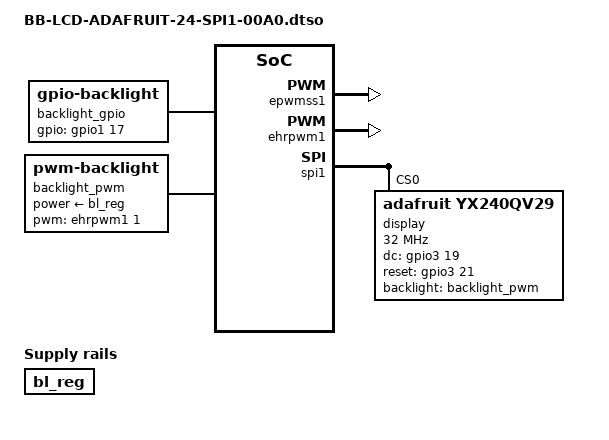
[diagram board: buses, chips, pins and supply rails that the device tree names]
// SPDX-License-Identifier: GPL-2.0-only
/*
 * Copyright (C) 2013 CircuitCo
 * Copyright (C) 2018 Drew Fustini <drew@beagleboard.org>
 * Copyright (C) 2019 Mark A. Yoder <mark.a.yoder@beagleboard.org>
 *
 * Adafruit 2.4" TFT LCD on SPI1 bus using tinydrm ili9341 driver
 *
 * DOCUMENTATION:
 * --------------
 * This file was copied from src/arm/BB-SPIDEV1-00A0.dts and modified
 * by Drew Fustini based on an exmample from David Lechner.
 * Later modified by Mark A. Yoder for the 2.4" LCD.
 *
 * This is the Adafruit 2.4" TFT LCD:
 * https://www.adafruit.com/product/2478
 *
 * It should be connected to BeagleBone SPI1 bus:
 *
 *   P9.16 <--> lite (pwm) [OPTIONAL]
 *   P9.23 <--> lite (gpio) [OPTIONAL]
 *   P9.25 <--> reset
 *   P9.27 <--> dc
 *   P9.28 <--> tft_cs
 *   P9.29 <--> miso
 *   P9.30 <--> mosi
 *   P9.31 <--> clk
 *
 * This overlay will load the mainline tinydrm ili9341 driver by David Lechner:
 * https://github.com/torvalds/linux/blob/master/drivers/gpu/drm/tiny/ili9341.c
 *
 * Tested with 4.19.59-ti-r26 kernel on Debian 10.1 image
 *
 * Run libdrm modetest for colorbar test based on instructions from:
 * https://github.com/notro/tinydrm/wiki/Development#modetest
 *
 * modetest -M "ili9341" -c #this will display connector id
 * modetest -M "ili9341" -s 28:128x160 #connector id and resolution
 * # you should now see a color bar on the LCD
 *
 * Mailing list post with more information:
 * https://groups.google.com/d/msg/beagleboard/GuMQIP_XCW0/b3lxbx_8AwAJ
 *
 * Discussion with notro on how to test tinydrm driver:
 * https://github.com/notro/tinydrm/issues/1#issuecomment-367279037
 */

/dts-v1/;
/plugin/;

#include <dt-bindings/gpio/gpio.h>
#include <dt-bindings/pinctrl/am33xx.h>

/*
 * Helper to show loaded overlays under: /proc/device-tree/chosen/overlays/
 */
&{/chosen} {
	overlays {
		BB-LCD-ADAFRUIT-24-SPI1-00A0 = __TIMESTAMP__;
	};
};

/*
 * Free up the pins used by the cape from the pinmux helpers.
 */
&ocp {
	P9_25_pinmux { status = "disabled"; };	/* lcd reset */
	P9_16_pinmux { status = "disabled"; };  /* lcd pwm backlight (OPTIONAL) */
	P9_27_pinmux { status = "disabled"; };	/* lcd dc */
	P9_28_pinmux { status = "disabled"; };	/* spi1_cs0 */
	P9_29_pinmux { status = "disabled"; };	/* spi1_d0 */
	P9_30_pinmux { status = "disabled"; };	/* spi1_d1 */
	P9_31_pinmux { status = "disabled"; };	/* spi1_sclk */
};

&am33xx_pinmux {
	/* default state has all gpios released and mode set to uart1 */
	/* See page 1446 of am35xx TRM */
	bb_spi1_pins: pinmux_bb_spi1_pins {
		pinctrl-single,pins = <
			AM33XX_PADCONF(AM335X_PIN_MCASP0_ACLKX, PIN_INPUT, MUX_MODE3)	/* mcasp0_aclkx.spi1_sclk */
			AM33XX_PADCONF(AM335X_PIN_MCASP0_FSX, PIN_INPUT, MUX_MODE3)	/* mcasp0_fsx.spi1_d0 */
			AM33XX_PADCONF(AM335X_PIN_MCASP0_AXR0, PIN_INPUT, MUX_MODE3)	/* mcasp0_axr0.spi1_d1 */
			AM33XX_PADCONF(AM335X_PIN_MCASP0_AHCLKR, PIN_INPUT, MUX_MODE3)	/* mcasp0_ahclkr.spi1_cs0 */
			AM33XX_PADCONF(AM335X_PIN_MCASP0_FSR, PIN_OUTPUT_PULLUP, MUX_MODE7)	/* gpio, dc */
			AM33XX_PADCONF(AM335X_PIN_MCASP0_AHCLKX, PIN_OUTPUT_PULLUP, MUX_MODE7)	/* gpio, reset */
		>;
	};

	backlight_pwm_pins: pinmux_backlight_pwm_pins {
		pinctrl-single,pins = <
			AM33XX_PADCONF(AM335X_PIN_GPMC_A3, PIN_OUTPUT, MUX_MODE6) /* gpmc_a2.ehrpwm1b */
		>;
	};  /* gpmc_a2.ehrpwm1b */
};

&epwmss1 {
	status = "okay";
};

&ehrpwm1 {
	pinctrl-names = "default";
	pinctrl-0 = <&backlight_pwm_pins>;
	status = "okay";
};

&spi1 {
	#address-cells = <1>;
	#size-cells = <0>;

	status = "okay";
	pinctrl-names = "default";
	pinctrl-0 = <&bb_spi1_pins>;

	channel@0{
		status = "disabled";
		reg = <0>;
	};

	display@0{
		status = "okay";
		compatible = "adafruit,yx240qv29", "ilitek,ili9341";
		reg = <0>;
		spi-max-frequency = <32000000>;
		dc-gpios    = <&gpio3 19 0>;   // lcd dc    P9.27 gpio3[19]
		reset-gpios = <&gpio3 21 0>;   // lcd reset P9.25 gpio3[21]
		// backlight is optional
		// choose either pwm or gpio control
		//backlight = <&backlight_gpio>; // lcd lite  P9.23 gpio1[17]
		backlight = <&backlight_pwm>;    // lcd lite  P9.16 gpmc_a2.ehrpwm1b
		// refer to https://elinux.org/Beagleboard:Cape_Expansion_Headers
		// rotation is optional
		rotation = <270>;
	};
};

&{/} {
	bl_reg: backlight-regulator {
		compatible = "regulator-fixed";
		regulator-name = "backlight";
		regulator-always-on;
		regulator-boot-on;
	};

	/* backlight is optional */
	backlight_gpio: backlight_gpio {
		compatible = "gpio-backlight";
		gpios = <&gpio1 17 GPIO_ACTIVE_HIGH>;
		// connect lcd lite pin to P9.23 which is gpio1[17]
		// refer to https://elinux.org/Beagleboard:Cape_Expansion_Headers
	};

	/*
	 * Turn the PWM backlight on by setting bl_power to 0:
	 * echo 0 > /sys/class/backlight/backlight_pwm/bl_power
	 */
	backlight_pwm: backlight_pwm {
		// P9.16 <--> lite (pwm-backlight EHRPWM1B)
		status = "okay";
		compatible = "pwm-backlight";
		pwms = <&ehrpwm1 1 500000 0>;	// First digit: 0 for A side of pwm, 1 for B side
										// 500000 is the PWM period in ns
										// https://git.kernel.org/pub/scm/linux/kernel/git/torvalds/linux.git/tree/Documentation/devicetree/bindings/pwm/pwm.txt
		brightness-levels = <
			0  1  2  3  4  5  6  7  8  9
			10 11 12 13 14 15 16 17 18 19
			20 21 22 23 24 25 26 27 28 29
			30 31 32 33 34 35 36 37 38 39
			40 41 42 43 44 45 46 47 48 49
			50 51 52 53 54 55 56 57 58 59
			60 61 62 63 64 65 66 67 68 69
			70 71 72 73 74 75 76 77 78 79
			80 81 82 83 84 85 86 87 88 89
			90 91 92 93 94 95 96 97 98 99
			100
		>;
		default-brightness-level = <100>;
		power-supply = <&bl_reg>;
	};
};
